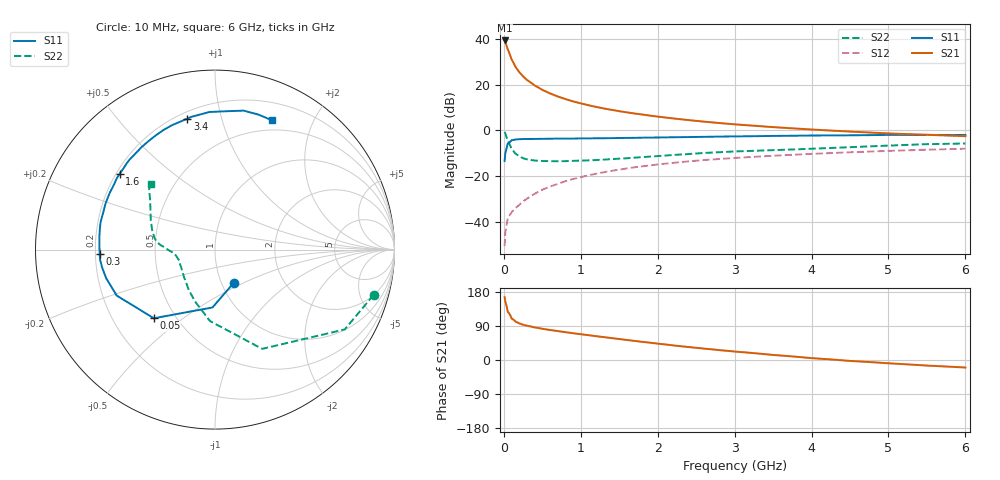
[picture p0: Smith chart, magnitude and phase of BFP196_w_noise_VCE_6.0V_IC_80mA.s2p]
! Infineon Technologies  Discrete & RF Semiconductors
! BFP196
! VCE =  6.0 V,  IC =  80 mA
! Common Emitter S-Parameters:  Jan 2017
# GHz  S  MA  R  50
!  f  S11  S21  S12  S22
! GHz  MAG  ANG  MAG  ANG  MAG  ANG  MAG  ANG
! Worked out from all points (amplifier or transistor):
!   77 points, 10 MHz to 6 GHz, reference 50 ohm
!   highest |S21| = 39.3 dB at 10 MHz (marker M1)
!   |S21| within 3 dB of that: start of sweep to 42.1 MHz
!   unconditionally stable (mu >= 1): 462.3 MHz to 2.43 GHz
!   at 130 MHz: K = 0.71, MSG = 32.0 dB, |S12| = -34.8 dB
!   at 2.2 GHz: K = 1.01, MAG = 9.2 dB, |S12| = -14.3 dB
!   at 6 GHz: K = 0.95, MSG = 2.7 dB, |S12| = -8.1 dB
!   lowest NFmin = 1.78 dB at 450 MHz
!   S11 on the Smith chart (normalised r, x): 10 MHz: 1.14, -0.44; 50 MHz: 0.38, -0.39; 300 MHz: 0.22, -0.02; 1.6 GHz: 0.21, +0.34; 3.4 GHz: 0.24, +0.78; 6 GHz: 0.39, +1.46
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0.01  0.2124 -60.5  92.22 165.7  0.0029 79.7  0.9187 -16.0
0.02  0.3228 -92.5  86.39 153.2  0.0059 77.3  0.8487 -31.6
0.05  0.5124 -131.7  59.59 127.8  0.0113 60.0  0.6122 -64.6
0.1  0.6044 -154.9  35.54 109.7  0.0159 58.0  0.399 -94.0
0.15  0.6265 -165.1  24.63 101.7  0.0197 59.2  0.3093 -111.1
0.2  0.6361 -170.6  18.75 96.7  0.0232 62.8  0.2682 -123.0
0.25  0.6424 -174.8  15.09 93.0  0.0277 64.5  0.2438 -131.4
0.3  0.6432 -178.0  12.62 90.4  0.0316 66.3  0.2306 -138.5
0.4  0.6449 177.3  9.545 86.0  0.0405 68.3  0.2172 -147.5
0.5  0.6486 173.1  7.644 82.4  0.0498 69.0  0.2119 -153.8
0.6  0.6518 169.8  6.401 79.2  0.0586 69.2  0.2107 -158.8
0.7  0.6553 166.7  5.491 76.4  0.0666 69.2  0.2092 -162.3
0.8  0.6556 163.5  4.813 73.4  0.0768 68.6  0.2105 -164.9
0.9  0.6569 160.6  4.276 70.7  0.0853 67.5  0.2136 -167.1
1.1  0.6631 154.8  3.526 65.5  0.1033 65.4  0.2192 -170.8
1.6  0.6791 141.4  2.458 52.8  0.146 59.2  0.2435 -177.2
2.1  0.6968 128.4  1.898 41.0  0.1854 52.1  0.2794 177.8
3.1  0.7353 107.3  1.308 20.7  0.2526 38.4  0.3475 167.9
3.4  0.7461 101.9  1.203 15.3  0.2703 34.7  0.3615 164.0
4.1  0.7675 90.9  1.015 3.6  0.3086 26.1  0.3993 153.8
5.1  0.7897 77.1  0.839 -9.8  0.3571 14.3  0.4678 140.9
6  0.7871 66.3  0.741 -19.9  0.3945 4.3  0.5119 134.3
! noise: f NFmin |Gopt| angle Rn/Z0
0.45  1.78  0.5  -170  0.06
0.9  1.95  0.53  -157  0.1
1.9  2.8  0.7  -130  0.4
2.4  3.2  0.7  -116  0.87
